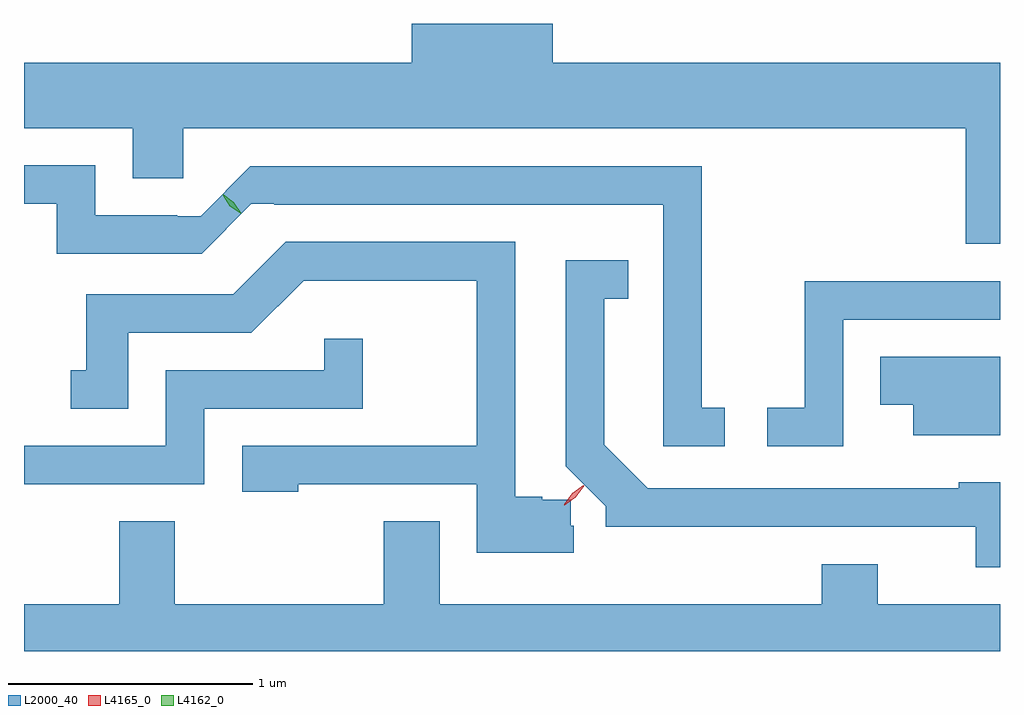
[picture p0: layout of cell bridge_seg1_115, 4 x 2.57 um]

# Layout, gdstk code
import gdstk
lib = gdstk.Library(unit=1e-6, precision=1e-09)
def P(c, l, *ps):  # polygons
    for p in ps: c.add(gdstk.Polygon(p, *l))
L2000_40 = (2000, 40)
L4162_0 = (4162, 0)
L4165_0 = (4165, 0)

bridge_seg1_115 = lib.new_cell('bridge_seg1_115')
P(bridge_seg1_115, L2000_40, [(1453.506,842.124),(1451.674,842.124),(1451.674,842.283),(1451.096,842.283),(1451.096,842.124),(1449.506,842.124),(1449.506,841.856),(1449.951,841.856),(1449.951,841.651),(1450.159,841.651),(1450.159,841.856),(1453.366,841.856),(1453.366,841.381),(1453.506,841.381)],
  [(1452.378,840.709),(1452.284,840.709),(1452.284,841.699),(1450.434,841.699),(1450.23,841.495),(1450.135,841.495),(1450.135,841.499),(1449.799,841.499),(1449.799,841.704),(1449.506,841.704),(1449.506,841.546),(1449.641,841.546),(1449.641,841.341),(1450.234,841.341),(1450.438,841.545),(1450.532,841.545),(1450.532,841.541),(1452.126,841.541),(1452.126,840.551),(1452.378,840.551)],
  [(1451.76,840.225),(1451.746,840.225),(1451.746,840.333),(1451.63,840.333),(1451.63,840.344),(1451.519,840.344),(1451.519,841.389),(1450.579,841.389),(1450.364,841.174),(1449.761,841.174),(1449.761,840.864),(1449.698,840.864),(1449.698,840.706),(1449.934,840.706),(1449.934,841.016),(1450.437,841.016),(1450.652,841.231),(1451.361,841.231),(1451.361,840.554),(1450.401,840.554),(1450.401,840.366),(1450.629,840.366),(1450.629,840.396),(1451.361,840.396),(1451.361,840.116),(1451.76,840.116)],
  [(1453.506,840.404),(1453.336,840.404),(1453.336,840.379),(1452.062,840.379),(1451.884,840.557),(1451.884,841.156),(1451.983,841.156),(1451.983,841.314),(1451.726,841.314),(1451.726,840.47),(1451.891,840.305),(1451.891,840.221),(1453.406,840.221),(1453.406,840.056),(1453.506,840.056)],
  [(1452.864,841.071),(1453.506,841.071),(1453.506,841.229),(1452.706,841.229),(1452.706,840.709),(1452.553,840.709),(1452.553,840.551),(1452.864,840.551)],
  [(1450.244,840.706),(1450.894,840.706),(1450.894,840.993),(1450.736,840.993),(1450.736,840.864),(1450.086,840.864),(1450.086,840.554),(1449.506,840.554),(1449.506,840.396),(1450.244,840.396)],
  [(1453.506,840.919),(1453.016,840.919),(1453.016,840.721),(1453.151,840.721),(1453.151,840.596),(1453.506,840.596)],
  [(1453.506,839.904),(1453.004,839.904),(1453.004,840.069),(1452.776,840.069),(1452.776,839.904),(1451.209,839.904),(1451.209,840.244),(1450.981,840.244),(1450.981,839.904),(1450.124,839.904),(1450.124,840.244),(1449.896,840.244),(1449.896,839.904),(1449.506,839.904),(1449.506,839.712),(1453.506,839.712)])
P(bridge_seg1_115, L4162_0, [(1450.392,841.507),(1450.35,841.536),(1450.322,841.578),(1450.322,841.579),(1450.323,841.579),(1450.365,841.55),(1450.392,841.508),(1450.392,841.507)],
  [(1450.396,841.505),(1450.352,841.538),(1450.321,841.584),(1450.321,841.585),(1450.322,841.585),(1450.366,841.552),(1450.397,841.506),(1450.397,841.505)])
P(bridge_seg1_115, L4165_0, [(1451.721,840.31),(1451.721,840.31),(1451.754,840.357),(1451.801,840.39),(1451.802,840.39),(1451.802,840.389),(1451.768,840.343),(1451.722,840.31)],
  [(1451.721,840.313),(1451.721,840.314),(1451.752,840.359),(1451.797,840.391),(1451.798,840.391),(1451.798,840.39),(1451.766,840.345),(1451.722,840.313)])

lib.write_gds('bridge_seg1_115.gds')
